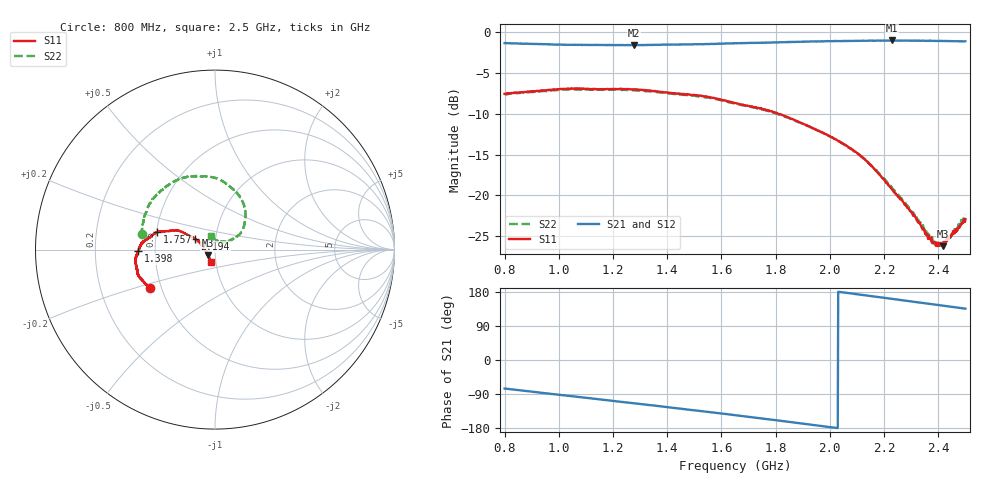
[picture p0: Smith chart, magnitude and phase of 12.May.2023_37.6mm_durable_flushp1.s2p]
!Keysight Technologies N9950B: A.12.38
!Date: Friday, 12 May 2023 16:43:37
!Timezone: (UTC-06:00) Central Time (US & Canada)
!Model: N9950B
!Serial: MY61131330
!GPS Latitude:
!GPS Longitude:
!GPS TimeStamp: 0001-01-01 00:00:00Z
!GPS Seconds Since Last Read: 0
!CHECKSUM:0881228792
!Correction: S11(ON U)S21(ON U)S12(ON U)S22(ON U)
!S2P File: Measurements:S11,S21,S12,S22:
# Hz S DB R 50
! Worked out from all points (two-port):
!   1001 points, 800 MHz to 2.5 GHz, reference 50 ohm
!   highest |S21| = -1.01 dB at 2.23 GHz (marker M1); lowest = -1.6 dB at 1.278 GHz (marker M2)
!   |S21| within 3 dB of the highest: start of sweep to end of sweep
!   lowest |S11| = -26.2 dB at 2.418 GHz (marker M3), VSWR 1.10, Z = 46.2 - j2.78 ohm
!   |S11| at or under -10 dB: 1.81 GHz to end of sweep
!   |S22| runs from -26.2 to -7.0 dB; largest |S21 - S12| = 0.006
!   S11 on the Smith chart (normalised r, x): 800 MHz: 0.43, -0.23; 1.398 GHz: 0.40, -0.01; 1.757 GHz: 0.50, +0.11; 2.194 GHz: 0.79, +0.10; 2.5 GHz: 0.95, -0.13
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8e8  -7.55 -149.3  -1.33 -75.3  -1.37 -75.2  -7.65 167.7
9.717e8  -7.08 -158.4  -1.50 -89.5  -1.51 -89.5  -7.11 150.0
1.0839e9  -6.96 -163.5  -1.54 -98.3  -1.57 -98.5  -7.02 137.6
1.2777e9  -7.02 -173.3  -1.59 -114.2  -1.61 -114.3  -7.13 117.7
1.3678e9  -7.28 -177.3  -1.53 -121.6  -1.56 -121.5  -7.36 108.1
1.3984e9  -7.38 -179.0  -1.51 -124.2  -1.53 -124.1  -7.47 104.8
1.5378e9  -7.87 174.2  -1.46 -135.8  -1.48 -136.0  -7.97 90.3
1.65e9  -8.68 168.9  -1.35 -145.5  -1.40 -145.5  -8.74 78.2
1.7571e9  -9.46 163.3  -1.28 -155.0  -1.30 -155.0  -9.52 67.4
1.8489e9  -10.48 160.0  -1.20 -163.2  -1.23 -163.1  -10.52 57.2
1.9339e9  -11.72 156.0  -1.13 -171.0  -1.17 -170.9  -11.74 49.0
2.0903e9  -14.59 151.8  -1.06 174.5  -1.08 174.5  -14.60 34.8
2.1345e9  -15.78 151.7  -1.03 170.3  -1.06 170.5  -15.77 32.1
2.194e9  -17.91 151.6  -1.03 164.7  -1.05 164.7  -17.77 31.0
2.2178e9  -18.83 151.9  -1.04 162.3  -1.04 162.5  -18.57 30.9
2.2297e9  -19.27 152.3  -1.01 161.2  -1.04 161.4  -19.09 31.5
2.3096e9  -22.48 162.7  -1.03 153.6  -1.06 153.7  -22.22 35.1
2.3708e9  -25.26 -172.3  -1.02 147.8  -1.07 147.8  -25.07 53.6
2.3997e9  -25.85 -152.2  -1.07 145.1  -1.08 145.2  -25.83 71.0
2.4184e9  -26.23 -142.1  -1.07 143.2  -1.10 143.3  -25.78 82.1
2.4507e9  -24.79 -123.1  -1.09 140.2  -1.09 140.2  -24.87 98.9
2.5e9  -22.90 -108.5  -1.10 135.5  -1.14 135.5  -22.37 106.3
